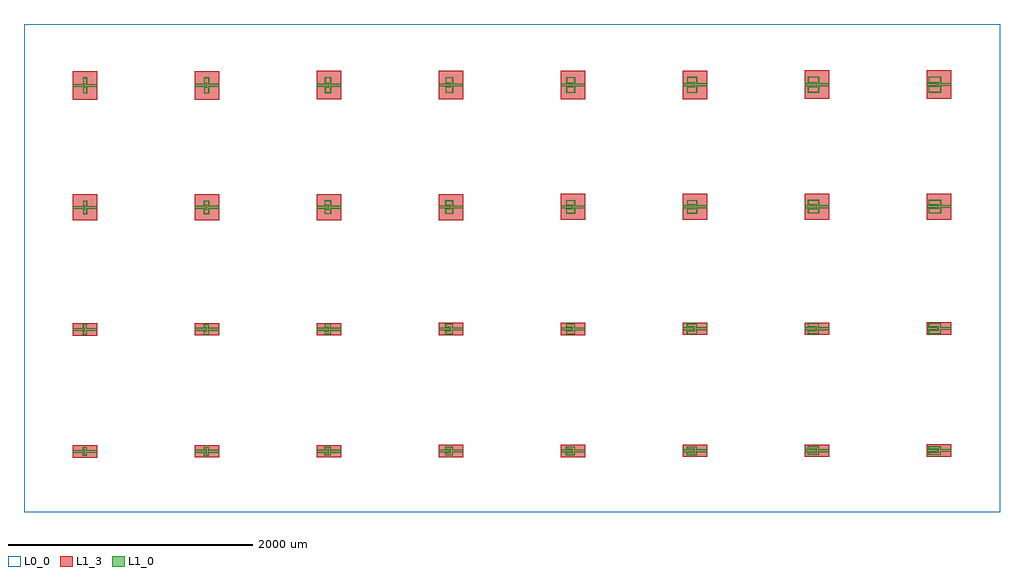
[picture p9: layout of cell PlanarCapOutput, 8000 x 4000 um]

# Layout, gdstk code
import gdstk
lib = gdstk.Library(unit=1e-6, precision=1e-09)
def R(c, l, rs):  # rectangles x0, y0, x1, y1
    for r in rs: c.add(gdstk.rectangle(r[:2], r[2:], *l))
def P(c, l, *ps):  # polygons
    for p in ps: c.add(gdstk.Polygon(p, *l))
L0_0 = (0, 0)
L1_0 = (1, 0)
L1_3 = (1, 3)

coplanarcap_43_1 = lib.new_cell('CoplanarCap$43$1')
P(coplanarcap_43_1, L1_0, [(-100,-11),(-100,-5),(-14,-5),(-14,5),(-100,5),(-100,11),(-8,11),(-8,-11)],
  [(-16,-35),(-16,-13),(-6,-13),(-6,13),(-16,13),(-16,35),(16,35),(16,11),(100,11),(100,5),(10,5),(10,29),(-10,29),(-10,19),(0,19),(0,-19),(-10,-19),(-10,-29),(10,-29),(10,-5),(100,-5),(100,-11),(16,-11),(16,-35)])
R(coplanarcap_43_1, L1_3, [(-100,-50,100,50)])

coplanarcap_44_1 = lib.new_cell('CoplanarCap$44$1')
P(coplanarcap_44_1, L1_0, [(-100,-11),(-100,-5),(-14,-5),(-14,5),(-100,5),(-100,11),(-8,11),(-8,-11)],
  [(-26,-35),(-26,-13),(-6,-13),(-6,13),(-26,13),(-26,35),(16,35),(16,11),(100,11),(100,5),(10,5),(10,29),(-20,29),(-20,19),(0,19),(0,-19),(-20,-19),(-20,-29),(10,-29),(10,-5),(100,-5),(100,-11),(16,-11),(16,-35)])
R(coplanarcap_44_1, L1_3, [(-100,-50,100,50)])

coplanarcap_45_1 = lib.new_cell('CoplanarCap$45$1')
P(coplanarcap_45_1, L1_0, [(-100,-11),(-100,-5),(-14,-5),(-14,5),(-100,5),(-100,11),(-8,11),(-8,-11)],
  [(-36,-35),(-36,-13),(-6,-13),(-6,13),(-36,13),(-36,35),(16,35),(16,11),(100,11),(100,5),(10,5),(10,29),(-30,29),(-30,19),(0,19),(0,-19),(-30,-19),(-30,-29),(10,-29),(10,-5),(100,-5),(100,-11),(16,-11),(16,-35)])
R(coplanarcap_45_1, L1_3, [(-100,-50,100,50)])

coplanarcap_46_1 = lib.new_cell('CoplanarCap$46$1')
P(coplanarcap_46_1, L1_0, [(-100,-11),(-100,-5),(-14,-5),(-14,5),(-100,5),(-100,11),(-8,11),(-8,-11)],
  [(-46,-35),(-46,-13),(-6,-13),(-6,13),(-46,13),(-46,35),(16,35),(16,11),(100,11),(100,5),(10,5),(10,29),(-40,29),(-40,19),(0,19),(0,-19),(-40,-19),(-40,-29),(10,-29),(10,-5),(100,-5),(100,-11),(16,-11),(16,-35)])
R(coplanarcap_46_1, L1_3, [(-100,-50,100,50)])

coplanarcap_47_1 = lib.new_cell('CoplanarCap$47$1')
P(coplanarcap_47_1, L1_0, [(-100,-11),(-100,-5),(-14,-5),(-14,5),(-100,5),(-100,11),(-8,11),(-8,-11)],
  [(-56,-35),(-56,-13),(-6,-13),(-6,13),(-56,13),(-56,35),(16,35),(16,11),(100,11),(100,5),(10,5),(10,29),(-50,29),(-50,19),(0,19),(0,-19),(-50,-19),(-50,-29),(10,-29),(10,-5),(100,-5),(100,-11),(16,-11),(16,-35)])
R(coplanarcap_47_1, L1_3, [(-100,-50,100,50)])

coplanarcap_48_1 = lib.new_cell('CoplanarCap$48$1')
P(coplanarcap_48_1, L1_0, [(-100,-11),(-100,-5),(-14,-5),(-14,5),(-100,5),(-100,11),(-8,11),(-8,-11)],
  [(-66,-35),(-66,-13),(-6,-13),(-6,13),(-66,13),(-66,35),(16,35),(16,11),(100,11),(100,5),(10,5),(10,29),(-60,29),(-60,19),(0,19),(0,-19),(-60,-19),(-60,-29),(10,-29),(10,-5),(100,-5),(100,-11),(16,-11),(16,-35)])
R(coplanarcap_48_1, L1_3, [(-100,-50,100,50)])

coplanarcap_49_1 = lib.new_cell('CoplanarCap$49$1')
P(coplanarcap_49_1, L1_0, [(-100,-11),(-100,-5),(-14,-5),(-14,5),(-100,5),(-100,11),(-8,11),(-8,-11)],
  [(-76,-35),(-76,-13),(-6,-13),(-6,13),(-76,13),(-76,35),(16,35),(16,11),(100,11),(100,5),(10,5),(10,29),(-70,29),(-70,19),(0,19),(0,-19),(-70,-19),(-70,-29),(10,-29),(10,-5),(100,-5),(100,-11),(16,-11),(16,-35)])
R(coplanarcap_49_1, L1_3, [(-100,-50,100,50)])

coplanarcap_50_1 = lib.new_cell('CoplanarCap$50$1')
P(coplanarcap_50_1, L1_0, [(-100,-11),(-100,-5),(-14,-5),(-14,5),(-100,5),(-100,11),(-8,11),(-8,-11)],
  [(-86,-35),(-86,-13),(-6,-13),(-6,13),(-86,13),(-86,35),(16,35),(16,11),(100,11),(100,5),(10,5),(10,29),(-80,29),(-80,19),(0,19),(0,-19),(-80,-19),(-80,-29),(10,-29),(10,-5),(100,-5),(100,-11),(16,-11),(16,-35)])
R(coplanarcap_50_1, L1_3, [(-100,-50,100,50)])

coplanarcap_51_1 = lib.new_cell('CoplanarCap$51$1')
P(coplanarcap_51_1, L1_0, [(-100,-11),(-100,-5),(-14,-5),(-14,5),(-100,5),(-100,11),(-8,11),(-8,-11)],
  [(-16,-45),(-16,-13),(-6,-13),(-6,13),(-16,13),(-16,45),(16,45),(16,11),(100,11),(100,5),(10,5),(10,39),(-10,39),(-10,19),(0,19),(0,-19),(-10,-19),(-10,-39),(10,-39),(10,-5),(100,-5),(100,-11),(16,-11),(16,-45)])
R(coplanarcap_51_1, L1_3, [(-100,-50,100,50)])

coplanarcap_52_1 = lib.new_cell('CoplanarCap$52$1')
P(coplanarcap_52_1, L1_0, [(-100,-11),(-100,-5),(-14,-5),(-14,5),(-100,5),(-100,11),(-8,11),(-8,-11)],
  [(-26,-45),(-26,-13),(-6,-13),(-6,13),(-26,13),(-26,45),(16,45),(16,11),(100,11),(100,5),(10,5),(10,39),(-20,39),(-20,19),(0,19),(0,-19),(-20,-19),(-20,-39),(10,-39),(10,-5),(100,-5),(100,-11),(16,-11),(16,-45)])
R(coplanarcap_52_1, L1_3, [(-100,-50,100,50)])

coplanarcap_53_1 = lib.new_cell('CoplanarCap$53$1')
P(coplanarcap_53_1, L1_0, [(-100,-11),(-100,-5),(-14,-5),(-14,5),(-100,5),(-100,11),(-8,11),(-8,-11)],
  [(-36,-45),(-36,-13),(-6,-13),(-6,13),(-36,13),(-36,45),(16,45),(16,11),(100,11),(100,5),(10,5),(10,39),(-30,39),(-30,19),(0,19),(0,-19),(-30,-19),(-30,-39),(10,-39),(10,-5),(100,-5),(100,-11),(16,-11),(16,-45)])
R(coplanarcap_53_1, L1_3, [(-100,-50,100,50)])

coplanarcap_54_1 = lib.new_cell('CoplanarCap$54$1')
P(coplanarcap_54_1, L1_0, [(-100,-11),(-100,-5),(-14,-5),(-14,5),(-100,5),(-100,11),(-8,11),(-8,-11)],
  [(-46,-45),(-46,-13),(-6,-13),(-6,13),(-46,13),(-46,45),(16,45),(16,11),(100,11),(100,5),(10,5),(10,39),(-40,39),(-40,19),(0,19),(0,-19),(-40,-19),(-40,-39),(10,-39),(10,-5),(100,-5),(100,-11),(16,-11),(16,-45)])
R(coplanarcap_54_1, L1_3, [(-100,-50,100,50)])

coplanarcap_55_1 = lib.new_cell('CoplanarCap$55$1')
P(coplanarcap_55_1, L1_0, [(-100,-11),(-100,-5),(-14,-5),(-14,5),(-100,5),(-100,11),(-8,11),(-8,-11)],
  [(-56,-45),(-56,-13),(-6,-13),(-6,13),(-56,13),(-56,45),(16,45),(16,11),(100,11),(100,5),(10,5),(10,39),(-50,39),(-50,19),(0,19),(0,-19),(-50,-19),(-50,-39),(10,-39),(10,-5),(100,-5),(100,-11),(16,-11),(16,-45)])
R(coplanarcap_55_1, L1_3, [(-100,-50,100,50)])

coplanarcap_56_1 = lib.new_cell('CoplanarCap$56$1')
P(coplanarcap_56_1, L1_0, [(-100,-11),(-100,-5),(-14,-5),(-14,5),(-100,5),(-100,11),(-8,11),(-8,-11)],
  [(-66,-45),(-66,-13),(-6,-13),(-6,13),(-66,13),(-66,45),(16,45),(16,11),(100,11),(100,5),(10,5),(10,39),(-60,39),(-60,19),(0,19),(0,-19),(-60,-19),(-60,-39),(10,-39),(10,-5),(100,-5),(100,-11),(16,-11),(16,-45)])
R(coplanarcap_56_1, L1_3, [(-100,-50,100,50)])

coplanarcap_57_1 = lib.new_cell('CoplanarCap$57$1')
P(coplanarcap_57_1, L1_0, [(-100,-11),(-100,-5),(-14,-5),(-14,5),(-100,5),(-100,11),(-8,11),(-8,-11)],
  [(-76,-45),(-76,-13),(-6,-13),(-6,13),(-76,13),(-76,45),(16,45),(16,11),(100,11),(100,5),(10,5),(10,39),(-70,39),(-70,19),(0,19),(0,-19),(-70,-19),(-70,-39),(10,-39),(10,-5),(100,-5),(100,-11),(16,-11),(16,-45)])
R(coplanarcap_57_1, L1_3, [(-100,-50,100,50)])

coplanarcap_58_1 = lib.new_cell('CoplanarCap$58$1')
P(coplanarcap_58_1, L1_0, [(-100,-11),(-100,-5),(-14,-5),(-14,5),(-100,5),(-100,11),(-8,11),(-8,-11)],
  [(-86,-45),(-86,-13),(-6,-13),(-6,13),(-86,13),(-86,45),(16,45),(16,11),(100,11),(100,5),(10,5),(10,39),(-80,39),(-80,19),(0,19),(0,-19),(-80,-19),(-80,-39),(10,-39),(10,-5),(100,-5),(100,-11),(16,-11),(16,-45)])
R(coplanarcap_58_1, L1_3, [(-100,-50,100,50)])

coplanarcap_59_1 = lib.new_cell('CoplanarCap$59$1')
P(coplanarcap_59_1, L1_0, [(-100,-11),(-100,-5),(-14,-5),(-14,5),(-100,5),(-100,11),(-8,11),(-8,-11)],
  [(-16,-55),(-16,-13),(-6,-13),(-6,13),(-16,13),(-16,55),(16,55),(16,11),(100,11),(100,5),(10,5),(10,49),(-10,49),(-10,19),(0,19),(0,-19),(-10,-19),(-10,-49),(10,-49),(10,-5),(100,-5),(100,-11),(16,-11),(16,-55)])
R(coplanarcap_59_1, L1_3, [(-100,-107,100,107)])

coplanarcap_60_1 = lib.new_cell('CoplanarCap$60$1')
P(coplanarcap_60_1, L1_0, [(-100,-11),(-100,-5),(-14,-5),(-14,5),(-100,5),(-100,11),(-8,11),(-8,-11)],
  [(-26,-55),(-26,-13),(-6,-13),(-6,13),(-26,13),(-26,55),(16,55),(16,11),(100,11),(100,5),(10,5),(10,49),(-20,49),(-20,19),(0,19),(0,-19),(-20,-19),(-20,-49),(10,-49),(10,-5),(100,-5),(100,-11),(16,-11),(16,-55)])
R(coplanarcap_60_1, L1_3, [(-100,-107,100,107)])

coplanarcap_61_1 = lib.new_cell('CoplanarCap$61$1')
P(coplanarcap_61_1, L1_0, [(-100,-11),(-100,-5),(-14,-5),(-14,5),(-100,5),(-100,11),(-8,11),(-8,-11)],
  [(-36,-55),(-36,-13),(-6,-13),(-6,13),(-36,13),(-36,55),(16,55),(16,11),(100,11),(100,5),(10,5),(10,49),(-30,49),(-30,19),(0,19),(0,-19),(-30,-19),(-30,-49),(10,-49),(10,-5),(100,-5),(100,-11),(16,-11),(16,-55)])
R(coplanarcap_61_1, L1_3, [(-100,-107,100,107)])

coplanarcap_62_1 = lib.new_cell('CoplanarCap$62$1')
P(coplanarcap_62_1, L1_0, [(-100,-11),(-100,-5),(-14,-5),(-14,5),(-100,5),(-100,11),(-8,11),(-8,-11)],
  [(-46,-55),(-46,-13),(-6,-13),(-6,13),(-46,13),(-46,55),(16,55),(16,11),(100,11),(100,5),(10,5),(10,49),(-40,49),(-40,19),(0,19),(0,-19),(-40,-19),(-40,-49),(10,-49),(10,-5),(100,-5),(100,-11),(16,-11),(16,-55)])
R(coplanarcap_62_1, L1_3, [(-100,-107,100,107)])

coplanarcap_63_1 = lib.new_cell('CoplanarCap$63$1')
P(coplanarcap_63_1, L1_0, [(-100,-11),(-100,-5),(-14,-5),(-14,5),(-100,5),(-100,11),(-8,11),(-8,-11)],
  [(-56,-55),(-56,-13),(-6,-13),(-6,13),(-56,13),(-56,55),(16,55),(16,11),(100,11),(100,5),(10,5),(10,49),(-50,49),(-50,19),(0,19),(0,-19),(-50,-19),(-50,-49),(10,-49),(10,-5),(100,-5),(100,-11),(16,-11),(16,-55)])
R(coplanarcap_63_1, L1_3, [(-100,-107,100,107)])

coplanarcap_6_1 = lib.new_cell('CoplanarCap$6$1')
P(coplanarcap_6_1, L1_0, [(-100,-11),(-100,-5),(-14,-5),(-14,5),(-100,5),(-100,11),(-8,11),(-8,-11)],
  [(-66,-55),(-66,-13),(-6,-13),(-6,13),(-66,13),(-66,55),(16,55),(16,11),(100,11),(100,5),(10,5),(10,49),(-60,49),(-60,19),(0,19),(0,-19),(-60,-19),(-60,-49),(10,-49),(10,-5),(100,-5),(100,-11),(16,-11),(16,-55)])
R(coplanarcap_6_1, L1_3, [(-100,-107,100,107)])

coplanarcap_7_1 = lib.new_cell('CoplanarCap$7$1')
P(coplanarcap_7_1, L1_0, [(-100,-11),(-100,-5),(-14,-5),(-14,5),(-100,5),(-100,11),(-8,11),(-8,-11)],
  [(-76,-55),(-76,-13),(-6,-13),(-6,13),(-76,13),(-76,55),(16,55),(16,11),(100,11),(100,5),(10,5),(10,49),(-70,49),(-70,19),(0,19),(0,-19),(-70,-19),(-70,-49),(10,-49),(10,-5),(100,-5),(100,-11),(16,-11),(16,-55)])
R(coplanarcap_7_1, L1_3, [(-100,-107,100,107)])

coplanarcap_8_1 = lib.new_cell('CoplanarCap$8$1')
P(coplanarcap_8_1, L1_0, [(-100,-11),(-100,-5),(-14,-5),(-14,5),(-100,5),(-100,11),(-8,11),(-8,-11)],
  [(-86,-55),(-86,-13),(-6,-13),(-6,13),(-86,13),(-86,55),(16,55),(16,11),(100,11),(100,5),(10,5),(10,49),(-80,49),(-80,19),(0,19),(0,-19),(-80,-19),(-80,-49),(10,-49),(10,-5),(100,-5),(100,-11),(16,-11),(16,-55)])
R(coplanarcap_8_1, L1_3, [(-100,-107,100,107)])

coplanarcap_9_1 = lib.new_cell('CoplanarCap$9$1')
P(coplanarcap_9_1, L1_0, [(-100,-11),(-100,-5),(-14,-5),(-14,5),(-100,5),(-100,11),(-8,11),(-8,-11)],
  [(-16,-65),(-16,-13),(-6,-13),(-6,13),(-16,13),(-16,65),(16,65),(16,11),(100,11),(100,5),(10,5),(10,59),(-10,59),(-10,19),(0,19),(0,-19),(-10,-19),(-10,-59),(10,-59),(10,-5),(100,-5),(100,-11),(16,-11),(16,-65)])
R(coplanarcap_9_1, L1_3, [(-100,-117,100,117)])

coplanarcap_10_1 = lib.new_cell('CoplanarCap$10$1')
P(coplanarcap_10_1, L1_0, [(-100,-11),(-100,-5),(-14,-5),(-14,5),(-100,5),(-100,11),(-8,11),(-8,-11)],
  [(-26,-65),(-26,-13),(-6,-13),(-6,13),(-26,13),(-26,65),(16,65),(16,11),(100,11),(100,5),(10,5),(10,59),(-20,59),(-20,19),(0,19),(0,-19),(-20,-19),(-20,-59),(10,-59),(10,-5),(100,-5),(100,-11),(16,-11),(16,-65)])
R(coplanarcap_10_1, L1_3, [(-100,-117,100,117)])

coplanarcap_11_1 = lib.new_cell('CoplanarCap$11$1')
P(coplanarcap_11_1, L1_0, [(-100,-11),(-100,-5),(-14,-5),(-14,5),(-100,5),(-100,11),(-8,11),(-8,-11)],
  [(-36,-65),(-36,-13),(-6,-13),(-6,13),(-36,13),(-36,65),(16,65),(16,11),(100,11),(100,5),(10,5),(10,59),(-30,59),(-30,19),(0,19),(0,-19),(-30,-19),(-30,-59),(10,-59),(10,-5),(100,-5),(100,-11),(16,-11),(16,-65)])
R(coplanarcap_11_1, L1_3, [(-100,-117,100,117)])

coplanarcap_12_1 = lib.new_cell('CoplanarCap$12$1')
P(coplanarcap_12_1, L1_0, [(-100,-11),(-100,-5),(-14,-5),(-14,5),(-100,5),(-100,11),(-8,11),(-8,-11)],
  [(-46,-65),(-46,-13),(-6,-13),(-6,13),(-46,13),(-46,65),(16,65),(16,11),(100,11),(100,5),(10,5),(10,59),(-40,59),(-40,19),(0,19),(0,-19),(-40,-19),(-40,-59),(10,-59),(10,-5),(100,-5),(100,-11),(16,-11),(16,-65)])
R(coplanarcap_12_1, L1_3, [(-100,-117,100,117)])

coplanarcap_13_1 = lib.new_cell('CoplanarCap$13$1')
P(coplanarcap_13_1, L1_0, [(-100,-11),(-100,-5),(-14,-5),(-14,5),(-100,5),(-100,11),(-8,11),(-8,-11)],
  [(-56,-65),(-56,-13),(-6,-13),(-6,13),(-56,13),(-56,65),(16,65),(16,11),(100,11),(100,5),(10,5),(10,59),(-50,59),(-50,19),(0,19),(0,-19),(-50,-19),(-50,-59),(10,-59),(10,-5),(100,-5),(100,-11),(16,-11),(16,-65)])
R(coplanarcap_13_1, L1_3, [(-100,-117,100,117)])

coplanarcap_14_1 = lib.new_cell('CoplanarCap$14$1')
P(coplanarcap_14_1, L1_0, [(-100,-11),(-100,-5),(-14,-5),(-14,5),(-100,5),(-100,11),(-8,11),(-8,-11)],
  [(-66,-65),(-66,-13),(-6,-13),(-6,13),(-66,13),(-66,65),(16,65),(16,11),(100,11),(100,5),(10,5),(10,59),(-60,59),(-60,19),(0,19),(0,-19),(-60,-19),(-60,-59),(10,-59),(10,-5),(100,-5),(100,-11),(16,-11),(16,-65)])
R(coplanarcap_14_1, L1_3, [(-100,-117,100,117)])

coplanarcap_15_1 = lib.new_cell('CoplanarCap$15$1')
P(coplanarcap_15_1, L1_0, [(-100,-11),(-100,-5),(-14,-5),(-14,5),(-100,5),(-100,11),(-8,11),(-8,-11)],
  [(-76,-65),(-76,-13),(-6,-13),(-6,13),(-76,13),(-76,65),(16,65),(16,11),(100,11),(100,5),(10,5),(10,59),(-70,59),(-70,19),(0,19),(0,-19),(-70,-19),(-70,-59),(10,-59),(10,-5),(100,-5),(100,-11),(16,-11),(16,-65)])
R(coplanarcap_15_1, L1_3, [(-100,-117,100,117)])

coplanarcap_16_1 = lib.new_cell('CoplanarCap$16$1')
P(coplanarcap_16_1, L1_0, [(-100,-11),(-100,-5),(-14,-5),(-14,5),(-100,5),(-100,11),(-8,11),(-8,-11)],
  [(-86,-65),(-86,-13),(-6,-13),(-6,13),(-86,13),(-86,65),(16,65),(16,11),(100,11),(100,5),(10,5),(10,59),(-80,59),(-80,19),(0,19),(0,-19),(-80,-19),(-80,-59),(10,-59),(10,-5),(100,-5),(100,-11),(16,-11),(16,-65)])
R(coplanarcap_16_1, L1_3, [(-100,-117,100,117)])

planarcapoutput = lib.new_cell('PlanarCapOutput')
R(planarcapoutput, L0_0, [(-4000,-2000,4000,2000)])
planarcapoutput.add(gdstk.Reference(coplanarcap_43_1, (-3501.5,-1503.5)))
planarcapoutput.add(gdstk.Reference(coplanarcap_44_1, (-2501.5,-1502.5)))
planarcapoutput.add(gdstk.Reference(coplanarcap_45_1, (-1501.5,-1501.5)))
planarcapoutput.add(gdstk.Reference(coplanarcap_46_1, (-501.5,-1500.5)))
planarcapoutput.add(gdstk.Reference(coplanarcap_47_1, (498.5,-1499.5)))
planarcapoutput.add(gdstk.Reference(coplanarcap_48_1, (1498.5,-1498.5)))
planarcapoutput.add(gdstk.Reference(coplanarcap_49_1, (2498.5,-1497.5)))
planarcapoutput.add(gdstk.Reference(coplanarcap_50_1, (3498.5,-1496.5)))
planarcapoutput.add(gdstk.Reference(coplanarcap_51_1, (-3500.5,-503.5)))
planarcapoutput.add(gdstk.Reference(coplanarcap_52_1, (-2500.5,-502.5)))
planarcapoutput.add(gdstk.Reference(coplanarcap_53_1, (-1500.5,-501.5)))
planarcapoutput.add(gdstk.Reference(coplanarcap_54_1, (-500.5,-500.5)))
planarcapoutput.add(gdstk.Reference(coplanarcap_55_1, (499.5,-499.5)))
planarcapoutput.add(gdstk.Reference(coplanarcap_56_1, (1499.5,-498.5)))
planarcapoutput.add(gdstk.Reference(coplanarcap_57_1, (2499.5,-497.5)))
planarcapoutput.add(gdstk.Reference(coplanarcap_58_1, (3499.5,-496.5)))
planarcapoutput.add(gdstk.Reference(coplanarcap_59_1, (-3499.5,496.5)))
planarcapoutput.add(gdstk.Reference(coplanarcap_60_1, (-2499.5,497.5)))
planarcapoutput.add(gdstk.Reference(coplanarcap_61_1, (-1499.5,498.5)))
planarcapoutput.add(gdstk.Reference(coplanarcap_62_1, (-499.5,499.5)))
planarcapoutput.add(gdstk.Reference(coplanarcap_63_1, (500.5,500.5)))
planarcapoutput.add(gdstk.Reference(coplanarcap_6_1, (1500.5,501.5)))
planarcapoutput.add(gdstk.Reference(coplanarcap_7_1, (2500.5,502.5)))
planarcapoutput.add(gdstk.Reference(coplanarcap_8_1, (3500.5,503.5)))
planarcapoutput.add(gdstk.Reference(coplanarcap_9_1, (-3498.5,1496.5)))
planarcapoutput.add(gdstk.Reference(coplanarcap_10_1, (-2498.5,1497.5)))
planarcapoutput.add(gdstk.Reference(coplanarcap_11_1, (-1498.5,1498.5)))
planarcapoutput.add(gdstk.Reference(coplanarcap_12_1, (-498.5,1499.5)))
planarcapoutput.add(gdstk.Reference(coplanarcap_13_1, (501.5,1500.5)))
planarcapoutput.add(gdstk.Reference(coplanarcap_14_1, (1501.5,1501.5)))
planarcapoutput.add(gdstk.Reference(coplanarcap_15_1, (2501.5,1502.5)))
planarcapoutput.add(gdstk.Reference(coplanarcap_16_1, (3501.5,1503.5)))

lib.write_gds('PlanarCapOutput.gds')
